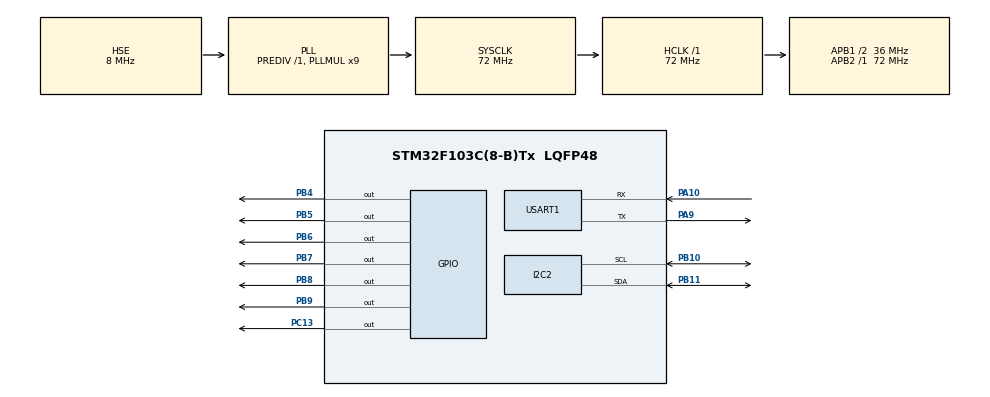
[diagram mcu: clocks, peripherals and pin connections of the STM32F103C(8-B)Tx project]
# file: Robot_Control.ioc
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Dma.Request0=USART1_RX
Dma.Request1=USART1_TX
Dma.USART1_RX.0.Direction=DMA_PERIPH_TO_MEMORY
Dma.USART1_RX.0.Instance=DMA1_Channel5
Dma.USART1_RX.0.MemDataAlignment=DMA_MDATAALIGN_BYTE
Dma.USART1_RX.0.MemInc=DMA_MINC_ENABLE
Dma.USART1_RX.0.Mode=DMA_NORMAL
Dma.USART1_RX.0.PeriphDataAlignment=DMA_PDATAALIGN_BYTE
Dma.USART1_RX.0.PeriphInc=DMA_PINC_DISABLE
Dma.USART1_RX.0.Priority=DMA_PRIORITY_LOW
Dma.USART1_TX.1.Direction=DMA_MEMORY_TO_PERIPH
Dma.USART1_TX.1.Instance=DMA1_Channel4
Dma.USART1_TX.1.MemDataAlignment=DMA_MDATAALIGN_BYTE
Dma.USART1_TX.1.MemInc=DMA_MINC_ENABLE
Dma.USART1_TX.1.Mode=DMA_NORMAL
Dma.USART1_TX.1.PeriphDataAlignment=DMA_PDATAALIGN_BYTE
Dma.USART1_TX.1.PeriphInc=DMA_PINC_DISABLE
Dma.USART1_TX.1.Priority=DMA_PRIORITY_LOW
Mcu.Family=STM32F1
Mcu.Name=STM32F103C(8-B)Tx
Mcu.Package=LQFP48
NVIC.DMA1_Channel4_IRQn=true\:0\:0\:false\:false\:true\:false\:true\:true
NVIC.DMA1_Channel5_IRQn=true\:0\:0\:false\:false\:true\:false\:true\:true
NVIC.I2C2_ER_IRQn=true\:0\:0\:false\:false\:true\:true\:true\:true
NVIC.I2C2_EV_IRQn=true\:0\:0\:false\:false\:true\:true\:true\:true
NVIC.PriorityGroup=NVIC_PRIORITYGROUP_4
NVIC.USART1_IRQn=true\:0\:0\:false\:false\:true\:true\:true\:true
PA10.Mode=Asynchronous
PA10.Signal=USART1_RX
PA13.Mode=Serial_Wire
PA13.Signal=SYS_JTMS-SWDIO
PA14.Mode=Serial_Wire
PA14.Signal=SYS_JTCK-SWCLK
PA9.Mode=Asynchronous
PA9.Signal=USART1_TX
PB10.Mode=I2C
PB10.Signal=I2C2_SCL
PB11.Mode=I2C
PB11.Signal=I2C2_SDA
PB4.GPIO_ModeDefaultOutputPP=GPIO_MODE_OUTPUT_OD
PB4.GPIO_PuPd=GPIO_NOPULL
PB4.Signal=GPIO_Output
PB5.GPIO_ModeDefaultOutputPP=GPIO_MODE_OUTPUT_OD
PB5.GPIO_PuPd=GPIO_NOPULL
PB5.Signal=GPIO_Output
PB6.GPIO_ModeDefaultOutputPP=GPIO_MODE_OUTPUT_OD
PB6.GPIO_PuPd=GPIO_NOPULL
PB6.Signal=GPIO_Output
PB7.GPIO_ModeDefaultOutputPP=GPIO_MODE_OUTPUT_OD
PB7.GPIO_PuPd=GPIO_NOPULL
PB7.Signal=GPIO_Output
PB8.GPIO_ModeDefaultOutputPP=GPIO_MODE_OUTPUT_OD
PB8.GPIO_PuPd=GPIO_NOPULL
PB8.Signal=GPIO_Output
PB9.GPIO_ModeDefaultOutputPP=GPIO_MODE_OUTPUT_OD
PB9.GPIO_PuPd=GPIO_NOPULL
PB9.Signal=GPIO_Output
PC13-TAMPER-RTC.PinState=GPIO_PIN_SET
PC13-TAMPER-RTC.Signal=GPIO_Output
PD0-OSC_IN.Mode=HSE-External-Oscillator
PD0-OSC_IN.Signal=RCC_OSC_IN
PD1-OSC_OUT.Mode=HSE-External-Oscillator
PD1-OSC_OUT.Signal=RCC_OSC_OUT
ProjectManager.HeapSize=0x200
ProjectManager.StackSize=0x400
ProjectManager.TargetToolchain=MDK-ARM V5.27
RCC.AHBFreq_Value=72000000
RCC.APB1CLKDivider=RCC_HCLK_DIV2
RCC.APB1Freq_Value=36000000
RCC.APB1TimFreq_Value=72000000
RCC.APB2Freq_Value=72000000
RCC.APB2TimFreq_Value=72000000
RCC.HCLKFreq_Value=72000000
RCC.PLLMUL=RCC_PLL_MUL9
RCC.PLLSourceVirtual=RCC_PLLSOURCE_HSE
RCC.SYSCLKFreq_VALUE=72000000
RCC.SYSCLKSource=RCC_SYSCLKSOURCE_PLLCLK
RCC.USBFreq_Value=72000000
USART1.VirtualMode=VM_ASYNC
board=custom

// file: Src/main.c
/* USER CODE BEGIN Header */
/**
  ******************************************************************************
  * @file           : main.c
  * @brief          : Main program body
  ******************************************************************************
  * @attention
  *
  * <h2><center>&copy; Copyright (c) 2024 STMicroelectronics.
  * All rights reserved.</center></h2>
  *
  * This software component is licensed by ST under BSD 3-Clause license,
  * the "License"; You may not use this file except in compliance with the
  * License. You may obtain a copy of the License at:
  *                        opensource.org/licenses/BSD-3-Clause
  *
  ******************************************************************************
  */
/* USER CODE END Header */
#include "main.h"
#include "dma.h"
#include "i2c.h"
#include "usart.h"
#include "gpio.h"

/* USER CODE BEGIN Includes */
#include "stdio.h"
#include "mpu6050.h"
#include "IIC.h"
#include "inv_mpu.h"
#include "inv_mpu_dmp_motion_driver.h"

#include <string.h>
#include "stdlib.h"
int MAX_LEN=7;
int LEN=7;
int kkk;
int count=0;
extern int jug_yaw[3];
float Data[9];
int jug=500;
/* USER CODE END Includes */

void SystemClock_Config(void);

/* USER CODE BEGIN 0 */

//int fputc(int ch, FILE *stream)
//{
//	HAL_UART_Transmit (&huart1, (unsigned char *) &ch, 1, 1000 );
//	return 1;
//}

//HAL_UART_Transmit (&huart1, (unsigned char *) &ch, 1, 1000 );

/* USER CODE END 0 */

int main(void)
{
  /* USER CODE BEGIN 1 */
  float pitch[3]={0},roll[3]={0},yaw[3]={0}; 		    //欧拉角
  short gyrox[3],gyroy[3],gyroz[3];		//陀螺仪原始数据
  float pitch_last[3]={0},roll_last[3]={0},yaw_last[3]={0}; 		    //欧拉角
	float pitch_new[3]={0},roll_new[3]={0},yaw_new[3]={0}; 		    //欧拉角
	float pitch_more_new[3]={0},roll_more_new[3]={0},yaw_more_new[3]={0}; 		    //欧拉角
	float pitch_init[3];
	float roll_init[3];
	float yaw_init[3];
  /* USER CODE END 1 */

  /* MCU Configuration--------------------------------------------------------*/

  /* Reset of all peripherals, Initializes the Flash interface and the Systick. */
  HAL_Init();

  /* Configure the system clock */
  SystemClock_Config();

  /* Initialize all configured peripherals */
  MX_GPIO_Init();
  MX_DMA_Init();
  MX_USART1_UART_Init();
  MX_I2C2_Init();
  /* USER CODE BEGIN 2 */
	MPU_Init(&IIC1);
	mpu_dmp_init(&IIC1);		//dmp初始化
	MPU_Init(&IIC2);
	mpu_dmp_init(&IIC2);		//dmp初始化
	MPU_Init(&IIC3);
	mpu_dmp_init(&IIC3);		//dmp初始化

	for (int i = 0; i < 3; i++){MPU6050[i].total_pitch=0;}
	for (int i = 0; i < 3; i++){MPU6050[i].total_yaw=0;}
	for (int i = 0; i < 3; i++){MPU6050[i].total_roll=0;}

  /* USER CODE END 2 */

  /* Infinite loop */
  while (1)
  {

    /* USER CODE BEGIN 3 */
		count++;
		MPU_Get_Gyroscope(&IIC1,&gyrox[0],&gyroy[0],&gyroz[0]);
		while(mpu_dmp_get_data(&IIC1,&pitch[0], &roll[0], &yaw[0]));	//必须要用while等待，才能读取成功

		MPU_Get_Gyroscope( &IIC2,&gyrox[1],&gyroy[1],&gyroz[1]);
		while(mpu_dmp_get_data(&IIC2,&pitch[1], &roll[1], &yaw[1]));	//必须要用while等待，才能读取成功

		MPU_Get_Gyroscope(&IIC3,&gyrox[2],&gyroy[2],&gyroz[2]);
		while(mpu_dmp_get_data(&IIC3,&pitch[2], &roll[2], &yaw[2]));	//必须要用while等待，才能读取成功

		for(int i=0;i<3;i++)
		{
			MPU6050[i].pitch=pitch[i];
			MPU6050[i].roll=roll[i];
			MPU6050[i].yaw=yaw[i];
			get_total_angle_MPU6050(&MPU6050[i],i);
		}
//			if(jug_yaw[2]>=500)
//	{
//		HAL_GPIO_WritePin(GPIOC, GPIO_PIN_13, GPIO_PIN_RESET); // LED亮
//	}
		char str[LEN*9];
		char str1[LEN];
		char str2[LEN];
		char str3[LEN];
		char str4[LEN];
		char str5[LEN];
		char str6[LEN];
		char str7[LEN];
		char str8[LEN];
		char str9[LEN];

 		sprintf(str1, "%.2f", pitch[0]);
		sprintf(str2, "%.2f", roll[0]);
		sprintf(str3, "%.2f", yaw[0]);
		sprintf(str4, "%.2f", pitch[1]);
		sprintf(str5, "%.2f", roll[1]);
		sprintf(str6, "%.2f", yaw[1]);
		sprintf(str7, "%.2f", pitch[2]);
		sprintf(str8, "%.2f", roll[2]);
		sprintf(str9, "%.2f", yaw[2]);
		char string1[MAX_LEN];
		char string2[MAX_LEN];
		char string3[MAX_LEN];
		char string4[MAX_LEN];
		char string5[MAX_LEN];
		char string6[MAX_LEN];
		char string7[MAX_LEN];
		char string8[MAX_LEN];
		char string9[MAX_LEN];

    char *input1 = str1;  // 输入的字符串
		char *input2 = str2;  // 输入的字符串
		char *input3 = str3;  // 输入的字符串
    char *input4 = str4;  // 输入的字符串
		char *input5 = str5;  // 输入的字符串
		char *input6 = str6;  // 输入的字符串
    char *input7 = str7;  // 输入的字符串
		char *input8 = str8;  // 输入的字符串
		char *input9 = str9;  // 输入的字符串

    int len1 = strlen(input1);
		int len2 = strlen(input2);
		int len3 = strlen(input3);
    int len4 = strlen(input4);
		int len5 = strlen(input5);
		int len6 = strlen(input6);
    int len7 = strlen(input7);
		int len8 = strlen(input8);
		int len9 = strlen(input9);

    // 复制输入的字符串到str
    for (int i = 0; i < len1; i++)
		{
        string1[i] = input1[i];
    }
    for (int i = 0; i < len2; i++)
		{
        string2[i] = input2[i];
    }
    for (int i = 0; i < len3; i++)
		{
        string3[i] = input3[i];
    }
    for (int i = 0; i < len4; i++)
		{
        string4[i] = input4[i];
    }
    for (int i = 0; i < len5; i++)
		{
        string5[i] = input5[i];
    }
    for (int i = 0; i < len6; i++)
		{
        string6[i] = input6[i];
    }
    for (int i = 0; i < len7; i++)
		{
        string7[i] = input7[i];
    }
    for (int i = 0; i < len8; i++)
		{
        string8[i] = input8[i];
    }
    for (int i = 0; i < len9; i++)
		{
        string9[i] = input9[i];
    }

    // 在剩余的位置补0
    for (int i; i < MAX_LEN; i++) {
        string1[i] = '0';
				string2[i] = '0';
				string3[i] = '0';
        string4[i] = '0';
				string5[i] = '0';
				string6[i] = '0';
        string7[i] = '0';
				string8[i] = '0';
				string9[i] = '0';
    }
		Data[0]=atof(string1);

    sprintf(str,"%s%s%s%s%s%s%s%s%s",string1,string2,string3,string4,string5, string6,string7,string8, string9);
		HAL_UART_Transmit (&huart1,(const uint8_t *)str,LEN*9,10000);
  }
  /* USER CODE END 3 */
}

void SystemClock_Config(void)
{
  RCC_OscInitTypeDef RCC_OscInitStruct = {0};
  RCC_ClkInitTypeDef RCC_ClkInitStruct = {0};

  /** Initializes the RCC Oscillators according to the specified parameters
  * in the RCC_OscInitTypeDef structure.
  */
  RCC_OscInitStruct.OscillatorType = RCC_OSCILLATORTYPE_HSE;
  RCC_OscInitStruct.HSEState = RCC_HSE_ON;
  RCC_OscInitStruct.HSEPredivValue = RCC_HSE_PREDIV_DIV1;
  RCC_OscInitStruct.HSIState = RCC_HSI_ON;
  RCC_OscInitStruct.PLL.PLLState = RCC_PLL_ON;
  RCC_OscInitStruct.PLL.PLLSource = RCC_PLLSOURCE_HSE;
  RCC_OscInitStruct.PLL.PLLMUL = RCC_PLL_MUL9;
  if (HAL_RCC_OscConfig(&RCC_OscInitStruct) != HAL_OK)
  {
    Error_Handler();
  }

  /** Initializes the CPU, AHB and APB buses clocks
  */
  RCC_ClkInitStruct.ClockType = RCC_CLOCKTYPE_HCLK|RCC_CLOCKTYPE_SYSCLK
                              |RCC_CLOCKTYPE_PCLK1|RCC_CLOCKTYPE_PCLK2;
  RCC_ClkInitStruct.SYSCLKSource = RCC_SYSCLKSOURCE_PLLCLK;
  RCC_ClkInitStruct.AHBCLKDivider = RCC_SYSCLK_DIV1;
  RCC_ClkInitStruct.APB1CLKDivider = RCC_HCLK_DIV2;
  RCC_ClkInitStruct.APB2CLKDivider = RCC_HCLK_DIV1;

  if (HAL_RCC_ClockConfig(&RCC_ClkInitStruct, FLASH_LATENCY_2) != HAL_OK)
  {
    Error_Handler();
  }
}

void Error_Handler(void)
{
  __disable_irq();
  while (1)
  {
  }
}
